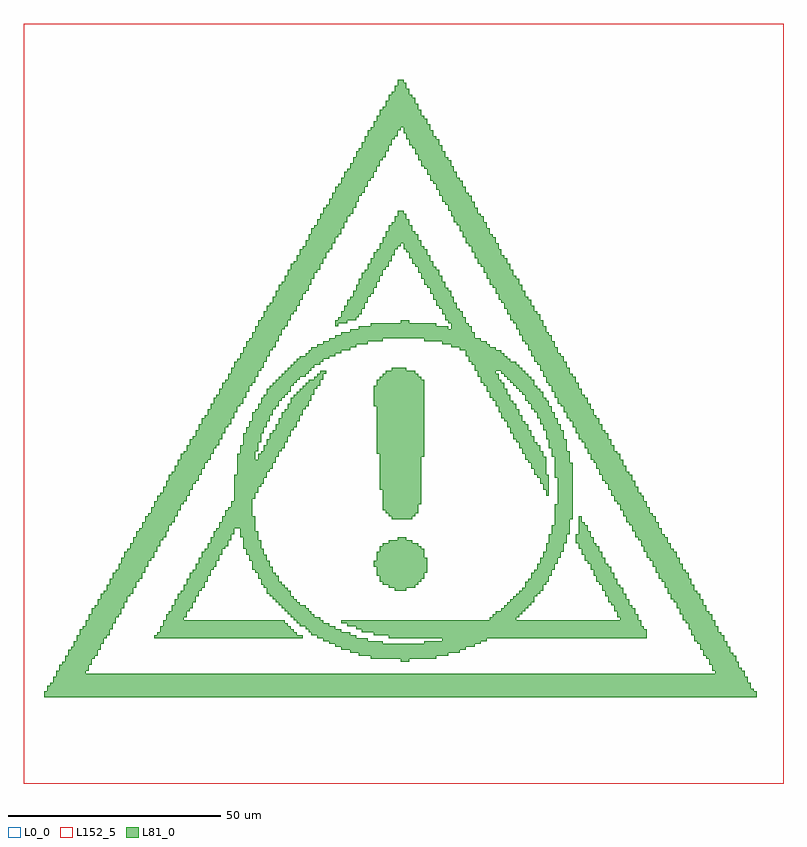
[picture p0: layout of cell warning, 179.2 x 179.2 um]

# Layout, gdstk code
import gdstk
lib = gdstk.Library(unit=1e-6, precision=1e-09)
def R(c, l, rs):  # rectangles x0, y0, x1, y1
    for r in rs: c.add(gdstk.rectangle(r[:2], r[2:], *l))
def A(c, l, x, y, w, h, nx, ny, dx, dy):  # array of equal rectangles
    R(c, l, [(x+i*dx, y+j*dy, x+i*dx+w, y+j*dy+h) for i in range(nx) for j in range(ny)])
L0_0 = (0, 0)
L81_0 = (81, 0)
L152_5 = (152, 5)

warning = lib.new_cell('warning')
R(warning, L0_0, [(0,0,179.2,179.2)])
A(warning, L81_0, 4.9, 20.3, 0.7, 0.7, 240, 2, 0.7, 0.7)
A(warning, L81_0, 5.6, 21.7, 0.7, 0.7, 238, 1, 0.7, 0)
A(warning, L81_0, 5.6, 22.4, 0.7, 0.7, 237, 1, 0.7, 0)
A(warning, L81_0, 6.3, 23.1, 0.7, 0.7, 236, 1, 0.7, 0)
A(warning, L81_0, 7, 23.8, 0.7, 0.7, 234, 2, 0.7, 0.7)
A(warning, L81_0, 7.7, 25.2, 0.7, 0.7, 232, 1, 0.7, 0)
A(warning, L81_0, 7.7, 25.9, 0.7, 0.7, 10, 1, 0.7, 0)
A(warning, L81_0, 163.1, 25.9, 0.7, 0.7, 10, 1, 0.7, 0)
A(warning, L81_0, 8.4, 26.6, 0.7, 0.7, 10, 2, 0.7, 0.7)
A(warning, L81_0, 162.4, 26.6, 0.7, 0.7, 10, 1, 0.7, 0)
A(warning, L81_0, 162.4, 27.3, 0.7, 0.7, 9, 1, 0.7, 0)
A(warning, L81_0, 9.1, 28, 0.7, 0.7, 10, 1, 0.7, 0)
A(warning, L81_0, 161.7, 28, 0.7, 0.7, 10, 1, 0.7, 0)
A(warning, L81_0, 9.8, 28.7, 0.7, 0.7, 9, 1, 0.7, 0)
A(warning, L81_0, 88.9, 28.7, 0.7, 0.7, 3, 2, 0.7, 79.8)
A(warning, L81_0, 161.7, 28.7, 0.7, 0.7, 9, 1, 0.7, 0)
A(warning, L81_0, 9.8, 29.4, 0.7, 0.7, 10, 1, 0.7, 0)
A(warning, L81_0, 81.9, 29.4, 0.7, 0.7, 22, 2, 0.7, 78.4)
A(warning, L81_0, 161, 29.4, 0.7, 0.7, 10, 1, 0.7, 0)
A(warning, L81_0, 10.5, 30.1, 0.7, 0.7, 10, 2, 0.7, 0.7)
A(warning, L81_0, 79.1, 30.1, 0.7, 0.7, 30, 2, 0.7, 77)
A(warning, L81_0, 160.3, 30.1, 0.7, 0.7, 10, 1, 0.7, 0)
A(warning, L81_0, 77, 30.8, 0.7, 0.7, 37, 1, 0.7, 0)
A(warning, L81_0, 160.3, 30.8, 0.7, 0.7, 9, 1, 0.7, 0)
A(warning, L81_0, 11.2, 31.5, 0.7, 0.7, 10, 1, 0.7, 0)
A(warning, L81_0, 74.9, 31.5, 0.7, 0.7, 42, 1, 0.7, 0)
A(warning, L81_0, 159.6, 31.5, 0.7, 0.7, 10, 1, 0.7, 0)
A(warning, L81_0, 11.9, 32.2, 0.7, 0.7, 9, 1, 0.7, 0)
A(warning, L81_0, 73.5, 32.2, 0.7, 0.7, 47, 2, 0.7, 72.8)
A(warning, L81_0, 159.6, 32.2, 0.7, 0.7, 9, 1, 0.7, 0)
A(warning, L81_0, 11.9, 32.9, 0.7, 0.7, 10, 1, 0.7, 0)
A(warning, L81_0, 72.1, 32.9, 0.7, 0.7, 18, 2, 0.7, 71.4)
A(warning, L81_0, 94.5, 32.9, 0.7, 0.7, 19, 2, 0.7, 71.4)
A(warning, L81_0, 158.9, 32.9, 0.7, 0.7, 10, 1, 0.7, 0)
A(warning, L81_0, 12.6, 33.6, 0.7, 0.7, 9, 1, 0.7, 0)
A(warning, L81_0, 70.7, 33.6, 0.7, 0.7, 15, 2, 0.7, 70)
A(warning, L81_0, 98.7, 33.6, 0.7, 0.7, 15, 2, 0.7, 70)
A(warning, L81_0, 158.2, 33.6, 0.7, 0.7, 10, 2, 0.7, 0.7)
A(warning, L81_0, 12.6, 34.3, 0.7, 0.7, 10, 1, 0.7, 0)
A(warning, L81_0, 30.8, 34.3, 0.7, 0.7, 50, 1, 0.7, 0)
A(warning, L81_0, 69.3, 34.3, 0.7, 0.7, 13, 2, 0.7, 68.6)
A(warning, L81_0, 86.1, 34.3, 0.7, 0.7, 87, 1, 0.7, 0)
A(warning, L81_0, 13.3, 35, 0.7, 0.7, 10, 2, 0.7, 0.7)
A(warning, L81_0, 31.5, 35, 0.7, 0.7, 47, 1, 0.7, 0)
A(warning, L81_0, 67.9, 35, 0.7, 0.7, 13, 2, 0.7, 67.2)
A(warning, L81_0, 82.6, 35, 0.7, 0.7, 92, 1, 0.7, 0)
A(warning, L81_0, 157.5, 35, 0.7, 0.7, 10, 1, 0.7, 0)
A(warning, L81_0, 32.2, 35.7, 0.7, 0.7, 45, 1, 0.7, 0)
A(warning, L81_0, 67.2, 35.7, 0.7, 0.7, 11, 2, 0.7, 65.8)
A(warning, L81_0, 79.8, 35.7, 0.7, 0.7, 96, 1, 0.7, 0)
A(warning, L81_0, 157.5, 35.7, 0.7, 0.7, 9, 1, 0.7, 0)
A(warning, L81_0, 14, 36.4, 0.7, 0.7, 10, 1, 0.7, 0)
A(warning, L81_0, 32.2, 36.4, 0.7, 0.7, 44, 1, 0.7, 0)
A(warning, L81_0, 66.5, 36.4, 0.7, 0.7, 10, 2, 0.7, 64.4)
A(warning, L81_0, 78.4, 36.4, 0.7, 0.7, 97, 1, 0.7, 0)
A(warning, L81_0, 156.8, 36.4, 0.7, 0.7, 10, 1, 0.7, 0)
A(warning, L81_0, 14.7, 37.1, 0.7, 0.7, 9, 1, 0.7, 0)
A(warning, L81_0, 32.9, 37.1, 0.7, 0.7, 42, 1, 0.7, 0)
A(warning, L81_0, 65.1, 37.1, 0.7, 0.7, 10, 2, 0.7, 63)
A(warning, L81_0, 76.3, 37.1, 0.7, 0.7, 99, 1, 0.7, 0)
A(warning, L81_0, 156.8, 37.1, 0.7, 0.7, 9, 1, 0.7, 0)
A(warning, L81_0, 14.7, 37.8, 0.7, 0.7, 10, 1, 0.7, 0)
A(warning, L81_0, 32.9, 37.8, 0.7, 0.7, 41, 1, 0.7, 0)
A(warning, L81_0, 64.4, 37.8, 0.7, 0.7, 9, 2, 0.7, 61.6)
A(warning, L81_0, 74.9, 37.8, 0.7, 0.7, 101, 1, 0.7, 0)
A(warning, L81_0, 156.1, 37.8, 0.7, 0.7, 10, 1, 0.7, 0)
A(warning, L81_0, 15.4, 38.5, 0.7, 0.7, 9, 1, 0.7, 0)
A(warning, L81_0, 33.6, 38.5, 0.7, 0.7, 6, 1, 0.7, 0)
A(warning, L81_0, 63.7, 38.5, 0.7, 0.7, 9, 2, 0.7, 60.2)
A(warning, L81_0, 109.9, 38.5, 0.7, 0.7, 9, 1, 0.7, 0)
A(warning, L81_0, 140.7, 38.5, 0.7, 0.7, 6, 1, 0.7, 0)
A(warning, L81_0, 155.4, 38.5, 0.7, 0.7, 10, 2, 0.7, 0.7)
A(warning, L81_0, 15.4, 39.2, 0.7, 0.7, 10, 1, 0.7, 0)
A(warning, L81_0, 33.6, 39.2, 0.7, 0.7, 7, 1, 0.7, 0)
A(warning, L81_0, 63, 39.2, 0.7, 0.7, 8, 2, 0.7, 58.8)
A(warning, L81_0, 110.6, 39.2, 0.7, 0.7, 9, 1, 0.7, 0)
A(warning, L81_0, 140, 39.2, 0.7, 0.7, 7, 1, 0.7, 0)
A(warning, L81_0, 16.1, 39.9, 0.7, 0.7, 10, 2, 0.7, 0.7)
A(warning, L81_0, 34.3, 39.9, 0.7, 0.7, 6, 1, 0.7, 0)
A(warning, L81_0, 62.3, 39.9, 0.7, 0.7, 8, 2, 0.7, 57.4)
A(warning, L81_0, 111.3, 39.9, 0.7, 0.7, 9, 2, 0.7, 76.3)
A(warning, L81_0, 140, 39.9, 0.7, 0.7, 6, 1, 0.7, 0)
A(warning, L81_0, 154.7, 39.9, 0.7, 0.7, 10, 1, 0.7, 0)
A(warning, L81_0, 35, 40.6, 0.7, 0.7, 6, 1, 0.7, 0)
A(warning, L81_0, 61.6, 40.6, 0.7, 0.7, 8, 2, 0.7, 56)
A(warning, L81_0, 112.7, 40.6, 0.7, 0.7, 8, 2, 0.7, 56)
A(warning, L81_0, 139.3, 40.6, 0.7, 0.7, 7, 1, 0.7, 0)
A(warning, L81_0, 154.7, 40.6, 0.7, 0.7, 9, 1, 0.7, 0)
A(warning, L81_0, 16.8, 41.3, 0.7, 0.7, 10, 1, 0.7, 0)
A(warning, L81_0, 35, 41.3, 0.7, 0.7, 7, 1, 0.7, 0)
A(warning, L81_0, 60.9, 41.3, 0.7, 0.7, 8, 2, 0.7, 54.6)
A(warning, L81_0, 113.4, 41.3, 0.7, 0.7, 8, 2, 0.7, 54.6)
A(warning, L81_0, 139.3, 41.3, 0.7, 0.7, 6, 1, 0.7, 0)
A(warning, L81_0, 154, 41.3, 0.7, 0.7, 10, 1, 0.7, 0)
A(warning, L81_0, 17.5, 42, 0.7, 0.7, 9, 1, 0.7, 0)
A(warning, L81_0, 35.7, 42, 0.7, 0.7, 6, 1, 0.7, 0)
A(warning, L81_0, 60.2, 42, 0.7, 0.7, 7, 2, 0.7, 43.4)
A(warning, L81_0, 114.1, 42, 0.7, 0.7, 8, 2, 0.7, 53.2)
A(warning, L81_0, 138.6, 42, 0.7, 0.7, 6, 1, 0.7, 0)
A(warning, L81_0, 154, 42, 0.7, 0.7, 9, 1, 0.7, 0)
A(warning, L81_0, 17.5, 42.7, 0.7, 0.7, 10, 1, 0.7, 0)
A(warning, L81_0, 35.7, 42.7, 0.7, 0.7, 7, 1, 0.7, 0)
A(warning, L81_0, 59.5, 42.7, 0.7, 0.7, 7, 2, 0.7, 41.3)
A(warning, L81_0, 114.8, 42.7, 0.7, 0.7, 8, 2, 0.7, 51.8)
A(warning, L81_0, 137.9, 42.7, 0.7, 0.7, 7, 1, 0.7, 0)
A(warning, L81_0, 153.3, 42.7, 0.7, 0.7, 10, 1, 0.7, 0)
A(warning, L81_0, 18.2, 43.4, 0.7, 0.7, 9, 1, 0.7, 0)
A(warning, L81_0, 36.4, 43.4, 0.7, 0.7, 6, 1, 0.7, 0)
A(warning, L81_0, 58.8, 43.4, 0.7, 0.7, 7, 2, 0.7, 50.4)
A(warning, L81_0, 115.5, 43.4, 0.7, 0.7, 7, 2, 0.7, 37.8)
A(warning, L81_0, 137.9, 43.4, 0.7, 0.7, 6, 1, 0.7, 0)
A(warning, L81_0, 152.6, 43.4, 0.7, 0.7, 10, 2, 0.7, 0.7)
A(warning, L81_0, 18.2, 44.1, 0.7, 0.7, 10, 1, 0.7, 0)
A(warning, L81_0, 36.4, 44.1, 0.7, 0.7, 7, 1, 0.7, 0)
A(warning, L81_0, 58.1, 44.1, 0.7, 0.7, 7, 2, 0.7, 37.8)
A(warning, L81_0, 116.2, 44.1, 0.7, 0.7, 7, 2, 0.7, 49)
A(warning, L81_0, 137.2, 44.1, 0.7, 0.7, 7, 1, 0.7, 0)
A(warning, L81_0, 18.9, 44.8, 0.7, 0.7, 10, 1, 0.7, 0)
A(warning, L81_0, 37.1, 44.8, 0.7, 0.7, 6, 1, 0.7, 0)
A(warning, L81_0, 57.4, 44.8, 0.7, 0.7, 8, 2, 0.7, 47.6)
A(warning, L81_0, 116.9, 44.8, 0.7, 0.7, 7, 2, 0.7, 34.3)
A(warning, L81_0, 137.2, 44.8, 0.7, 0.7, 6, 1, 0.7, 0)
A(warning, L81_0, 151.9, 44.8, 0.7, 0.7, 10, 1, 0.7, 0)
A(warning, L81_0, 19.6, 45.5, 0.7, 0.7, 9, 1, 0.7, 0)
A(warning, L81_0, 37.8, 45.5, 0.7, 0.7, 6, 1, 0.7, 0)
A(warning, L81_0, 57.4, 45.5, 0.7, 0.7, 7, 2, 0.7, 35)
A(warning, L81_0, 87.5, 45.5, 0.7, 0.7, 4, 2, 0.7, 87.5)
A(warning, L81_0, 117.6, 45.5, 0.7, 0.7, 7, 2, 0.7, 32.2)
A(warning, L81_0, 136.5, 45.5, 0.7, 0.7, 7, 1, 0.7, 0)
A(warning, L81_0, 151.9, 45.5, 0.7, 0.7, 9, 1, 0.7, 0)
A(warning, L81_0, 19.6, 46.2, 0.7, 0.7, 10, 1, 0.7, 0)
A(warning, L81_0, 37.8, 46.2, 0.7, 0.7, 7, 1, 0.7, 0)
A(warning, L81_0, 56.7, 46.2, 0.7, 0.7, 7, 2, 0.7, 32.9)
A(warning, L81_0, 86.1, 46.2, 0.7, 0.7, 9, 2, 0.7, 16.8)
A(warning, L81_0, 118.3, 46.2, 0.7, 0.7, 6, 2, 0.7, 30.8)
A(warning, L81_0, 136.5, 46.2, 0.7, 0.7, 6, 1, 0.7, 0)
A(warning, L81_0, 151.2, 46.2, 0.7, 0.7, 10, 1, 0.7, 0)
A(warning, L81_0, 20.3, 46.9, 0.7, 0.7, 9, 1, 0.7, 0)
A(warning, L81_0, 38.5, 46.9, 0.7, 0.7, 6, 1, 0.7, 0)
A(warning, L81_0, 56, 46.9, 0.7, 0.7, 7, 2, 0.7, 43.4)
A(warning, L81_0, 84.7, 46.9, 0.7, 0.7, 12, 2, 0.7, 9.1)
A(warning, L81_0, 118.3, 46.9, 0.7, 0.7, 7, 2, 0.7, 29.4)
A(warning, L81_0, 135.8, 46.9, 0.7, 0.7, 6, 1, 0.7, 0)
A(warning, L81_0, 151.2, 46.9, 0.7, 0.7, 9, 1, 0.7, 0)
A(warning, L81_0, 20.3, 47.6, 0.7, 0.7, 10, 1, 0.7, 0)
A(warning, L81_0, 38.5, 47.6, 0.7, 0.7, 7, 1, 0.7, 0)
A(warning, L81_0, 56, 47.6, 0.7, 0.7, 6, 2, 0.7, 30.1)
A(warning, L81_0, 84, 47.6, 0.7, 0.7, 14, 2, 0.7, 7.7)
A(warning, L81_0, 119, 47.6, 0.7, 0.7, 7, 2, 0.7, 42)
A(warning, L81_0, 135.1, 47.6, 0.7, 0.7, 7, 1, 0.7, 0)
A(warning, L81_0, 150.5, 47.6, 0.7, 0.7, 10, 1, 0.7, 0)
A(warning, L81_0, 21, 48.3, 0.7, 0.7, 10, 2, 0.7, 0.7)
A(warning, L81_0, 39.2, 48.3, 0.7, 0.7, 6, 1, 0.7, 0)
A(warning, L81_0, 55.3, 48.3, 0.7, 0.7, 7, 2, 0.7, 28.7)
A(warning, L81_0, 84, 48.3, 0.7, 0.7, 15, 2, 0.7, 6.3)
A(warning, L81_0, 119.7, 48.3, 0.7, 0.7, 6, 2, 0.7, 40.6)
A(warning, L81_0, 135.1, 48.3, 0.7, 0.7, 6, 1, 0.7, 0)
A(warning, L81_0, 149.8, 48.3, 0.7, 0.7, 10, 2, 0.7, 0.7)
A(warning, L81_0, 39.2, 49, 0.7, 0.7, 7, 1, 0.7, 0)
A(warning, L81_0, 55.3, 49, 0.7, 0.7, 6, 2, 0.7, 27.3)
A(warning, L81_0, 83.3, 49, 0.7, 0.7, 16, 2, 0.7, 4.2)
A(warning, L81_0, 119.7, 49, 0.7, 0.7, 7, 2, 0.7, 39.2)
A(warning, L81_0, 134.4, 49, 0.7, 0.7, 7, 1, 0.7, 0)
A(warning, L81_0, 21.7, 49.7, 0.7, 0.7, 10, 1, 0.7, 0)
A(warning, L81_0, 39.9, 49.7, 0.7, 0.7, 6, 1, 0.7, 0)
A(warning, L81_0, 54.6, 49.7, 0.7, 0.7, 6, 2, 0.7, 37.8)
A(warning, L81_0, 83.3, 49.7, 0.7, 0.7, 17, 2, 0.7, 0.7)
A(warning, L81_0, 120.4, 49.7, 0.7, 0.7, 6, 2, 0.7, 37.8)
A(warning, L81_0, 134.4, 49.7, 0.7, 0.7, 6, 1, 0.7, 0)
A(warning, L81_0, 149.1, 49.7, 0.7, 0.7, 10, 1, 0.7, 0)
A(warning, L81_0, 22.4, 50.4, 0.7, 0.7, 9, 1, 0.7, 0)
A(warning, L81_0, 40.6, 50.4, 0.7, 0.7, 6, 1, 0.7, 0)
A(warning, L81_0, 53.9, 50.4, 0.7, 0.7, 7, 2, 0.7, 36.4)
A(warning, L81_0, 121.1, 50.4, 0.7, 0.7, 6, 2, 0.7, 0.7)
A(warning, L81_0, 133.7, 50.4, 0.7, 0.7, 7, 1, 0.7, 0)
A(warning, L81_0, 149.1, 50.4, 0.7, 0.7, 9, 1, 0.7, 0)
A(warning, L81_0, 22.4, 51.1, 0.7, 0.7, 10, 1, 0.7, 0)
A(warning, L81_0, 40.6, 51.1, 0.7, 0.7, 7, 1, 0.7, 0)
A(warning, L81_0, 53.9, 51.1, 0.7, 0.7, 6, 2, 0.7, 0.7)
A(warning, L81_0, 82.6, 51.1, 0.7, 0.7, 18, 2, 0.7, 0.7)
A(warning, L81_0, 133.7, 51.1, 0.7, 0.7, 6, 1, 0.7, 0)
A(warning, L81_0, 148.4, 51.1, 0.7, 0.7, 10, 1, 0.7, 0)
A(warning, L81_0, 23.1, 51.8, 0.7, 0.7, 9, 1, 0.7, 0)
A(warning, L81_0, 41.3, 51.8, 0.7, 0.7, 6, 1, 0.7, 0)
A(warning, L81_0, 121.8, 51.8, 0.7, 0.7, 6, 2, 0.7, 0.7)
A(warning, L81_0, 133, 51.8, 0.7, 0.7, 6, 1, 0.7, 0)
A(warning, L81_0, 148.4, 51.8, 0.7, 0.7, 9, 1, 0.7, 0)
A(warning, L81_0, 23.1, 52.5, 0.7, 0.7, 10, 1, 0.7, 0)
A(warning, L81_0, 41.3, 52.5, 0.7, 0.7, 7, 1, 0.7, 0)
A(warning, L81_0, 53.2, 52.5, 0.7, 0.7, 6, 2, 0.7, 0.7)
A(warning, L81_0, 83.3, 52.5, 0.7, 0.7, 17, 2, 0.7, 103.6)
A(warning, L81_0, 132.3, 52.5, 0.7, 0.7, 7, 1, 0.7, 0)
A(warning, L81_0, 147.7, 52.5, 0.7, 0.7, 10, 1, 0.7, 0)
A(warning, L81_0, 23.8, 53.2, 0.7, 0.7, 10, 2, 0.7, 0.7)
A(warning, L81_0, 42, 53.2, 0.7, 0.7, 6, 1, 0.7, 0)
A(warning, L81_0, 122.5, 53.2, 0.7, 0.7, 6, 2, 0.7, 0.7)
A(warning, L81_0, 132.3, 53.2, 0.7, 0.7, 6, 1, 0.7, 0)
A(warning, L81_0, 147, 53.2, 0.7, 0.7, 10, 2, 0.7, 0.7)
A(warning, L81_0, 42, 53.9, 0.7, 0.7, 7, 1, 0.7, 0)
A(warning, L81_0, 52.5, 53.9, 0.7, 0.7, 6, 2, 0.7, 0.7)
A(warning, L81_0, 83.3, 53.9, 0.7, 0.7, 16, 2, 0.7, 23.8)
A(warning, L81_0, 131.6, 53.9, 0.7, 0.7, 7, 1, 0.7, 0)
A(warning, L81_0, 24.5, 54.6, 0.7, 0.7, 10, 1, 0.7, 0)
A(warning, L81_0, 42.7, 54.6, 0.7, 0.7, 6, 1, 0.7, 0)
A(warning, L81_0, 123.2, 54.6, 0.7, 0.7, 6, 3, 0.7, 0.7)
A(warning, L81_0, 131.6, 54.6, 0.7, 0.7, 6, 1, 0.7, 0)
A(warning, L81_0, 146.3, 54.6, 0.7, 0.7, 10, 1, 0.7, 0)
A(warning, L81_0, 25.2, 55.3, 0.7, 0.7, 9, 1, 0.7, 0)
A(warning, L81_0, 43.4, 55.3, 0.7, 0.7, 6, 1, 0.7, 0)
A(warning, L81_0, 51.8, 55.3, 0.7, 0.7, 6, 3, 0.7, 0.7)
A(warning, L81_0, 130.9, 55.3, 0.7, 0.7, 7, 1, 0.7, 0)
A(warning, L81_0, 146.3, 55.3, 0.7, 0.7, 9, 1, 0.7, 0)
A(warning, L81_0, 25.2, 56, 0.7, 0.7, 10, 1, 0.7, 0)
A(warning, L81_0, 43.4, 56, 0.7, 0.7, 7, 1, 0.7, 0)
A(warning, L81_0, 130.9, 56, 0.7, 0.7, 6, 1, 0.7, 0)
A(warning, L81_0, 145.6, 56, 0.7, 0.7, 10, 1, 0.7, 0)
A(warning, L81_0, 25.9, 56.7, 0.7, 0.7, 9, 1, 0.7, 0)
A(warning, L81_0, 44.1, 56.7, 0.7, 0.7, 6, 1, 0.7, 0)
A(warning, L81_0, 86.1, 56.7, 0.7, 0.7, 8, 2, 0.7, 73.5)
A(warning, L81_0, 123.9, 56.7, 0.7, 0.7, 6, 3, 0.7, 0.7)
A(warning, L81_0, 130.2, 56.7, 0.7, 0.7, 6, 2, 0.7, 0.7)
A(warning, L81_0, 145.6, 56.7, 0.7, 0.7, 9, 1, 0.7, 0)
A(warning, L81_0, 25.9, 57.4, 0.7, 0.7, 10, 1, 0.7, 0)
A(warning, L81_0, 44.1, 57.4, 0.7, 0.7, 7, 1, 0.7, 0)
A(warning, L81_0, 51.8, 57.4, 0.7, 0.7, 5, 2, 0.7, 22.4)
A(warning, L81_0, 88.2, 57.4, 0.7, 0.7, 3, 2, 0.7, 76.3)
A(warning, L81_0, 144.9, 57.4, 0.7, 0.7, 10, 1, 0.7, 0)
A(warning, L81_0, 26.6, 58.1, 0.7, 0.7, 10, 2, 0.7, 0.7)
A(warning, L81_0, 44.8, 58.1, 0.7, 0.7, 6, 1, 0.7, 0)
A(warning, L81_0, 51.1, 58.1, 0.7, 0.7, 6, 2, 0.7, 0.7)
A(warning, L81_0, 130.2, 58.1, 0.7, 0.7, 5, 1, 0.7, 0)
A(warning, L81_0, 144.2, 58.1, 0.7, 0.7, 10, 1, 0.7, 0)
A(warning, L81_0, 44.8, 58.8, 0.7, 0.7, 7, 1, 0.7, 0)
A(warning, L81_0, 124.6, 58.8, 0.7, 0.7, 6, 3, 0.7, 0.7)
A(warning, L81_0, 130.9, 58.8, 0.7, 0.7, 4, 1, 0.7, 0)
A(warning, L81_0, 144.2, 58.8, 0.7, 0.7, 9, 1, 0.7, 0)
A(warning, L81_0, 27.3, 59.5, 0.7, 0.7, 10, 1, 0.7, 0)
A(warning, L81_0, 45.5, 59.5, 0.7, 0.7, 6, 1, 0.7, 0)
A(warning, L81_0, 51.1, 59.5, 0.7, 0.7, 5, 2, 0.7, 18.2)
A(warning, L81_0, 130.9, 59.5, 0.7, 0.7, 3, 2, 0.7, 0.7)
A(warning, L81_0, 143.5, 59.5, 0.7, 0.7, 10, 1, 0.7, 0)
A(warning, L81_0, 28, 60.2, 0.7, 0.7, 9, 1, 0.7, 0)
A(warning, L81_0, 46.2, 60.2, 0.7, 0.7, 12, 2, 0.7, 0.7)
A(warning, L81_0, 143.5, 60.2, 0.7, 0.7, 9, 1, 0.7, 0)
A(warning, L81_0, 28, 60.9, 0.7, 0.7, 10, 1, 0.7, 0)
A(warning, L81_0, 125.3, 60.9, 0.7, 0.7, 5, 2, 0.7, 0.7)
A(warning, L81_0, 130.9, 60.9, 0.7, 0.7, 1, 3, 0, 0.7)
A(warning, L81_0, 142.8, 60.9, 0.7, 0.7, 10, 1, 0.7, 0)
A(warning, L81_0, 28.7, 61.6, 0.7, 0.7, 10, 2, 0.7, 0.7)
A(warning, L81_0, 46.9, 61.6, 0.7, 0.7, 11, 2, 0.7, 0.7)
A(warning, L81_0, 142.1, 61.6, 0.7, 0.7, 10, 2, 0.7, 0.7)
A(warning, L81_0, 86.8, 62.3, 0.7, 0.7, 7, 1, 0.7, 0)
A(warning, L81_0, 125.3, 62.3, 0.7, 0.7, 6, 5, 0.7, 0.7)
A(warning, L81_0, 29.4, 63, 0.7, 0.7, 10, 1, 0.7, 0)
A(warning, L81_0, 47.6, 63, 0.7, 0.7, 9, 2, 0.7, 0.7)
A(warning, L81_0, 141.4, 63, 0.7, 0.7, 10, 1, 0.7, 0)
A(warning, L81_0, 30.1, 63.7, 0.7, 0.7, 9, 1, 0.7, 0)
A(warning, L81_0, 85.4, 63.7, 0.7, 0.7, 11, 2, 0.7, 65.1)
A(warning, L81_0, 141.4, 63.7, 0.7, 0.7, 9, 1, 0.7, 0)
A(warning, L81_0, 30.1, 64.4, 0.7, 0.7, 10, 1, 0.7, 0)
A(warning, L81_0, 48.3, 64.4, 0.7, 0.7, 8, 1, 0.7, 0)
A(warning, L81_0, 84.7, 64.4, 0.7, 0.7, 12, 2, 0.7, 0.7)
A(warning, L81_0, 140.7, 64.4, 0.7, 0.7, 10, 1, 0.7, 0)
A(warning, L81_0, 30.8, 65.1, 0.7, 0.7, 9, 1, 0.7, 0)
A(warning, L81_0, 49, 65.1, 0.7, 0.7, 7, 2, 0.7, 0.7)
A(warning, L81_0, 140.7, 65.1, 0.7, 0.7, 9, 1, 0.7, 0)
A(warning, L81_0, 30.8, 65.8, 0.7, 0.7, 10, 1, 0.7, 0)
A(warning, L81_0, 84.7, 65.8, 0.7, 0.7, 13, 5, 0.7, 0.7)
A(warning, L81_0, 126, 65.8, 0.7, 0.7, 5, 9, 0.7, 0.7)
A(warning, L81_0, 140, 65.8, 0.7, 0.7, 10, 1, 0.7, 0)
A(warning, L81_0, 31.5, 66.5, 0.7, 0.7, 10, 2, 0.7, 0.7)
A(warning, L81_0, 49.7, 66.5, 0.7, 0.7, 6, 1, 0.7, 0)
A(warning, L81_0, 139.3, 66.5, 0.7, 0.7, 10, 2, 0.7, 0.7)
A(warning, L81_0, 49.7, 67.2, 0.7, 0.7, 7, 2, 0.7, 0.7)
A(warning, L81_0, 32.2, 67.9, 0.7, 0.7, 10, 1, 0.7, 0)
A(warning, L81_0, 123.2, 67.9, 0.7, 0.7, 1, 4, 0, 0.7)
A(warning, L81_0, 138.6, 67.9, 0.7, 0.7, 10, 1, 0.7, 0)
A(warning, L81_0, 32.9, 68.6, 0.7, 0.7, 9, 1, 0.7, 0)
A(warning, L81_0, 49.7, 68.6, 0.7, 0.7, 8, 2, 0.7, 0.7)
A(warning, L81_0, 138.6, 68.6, 0.7, 0.7, 9, 1, 0.7, 0)
A(warning, L81_0, 32.9, 69.3, 0.7, 0.7, 10, 1, 0.7, 0)
A(warning, L81_0, 84, 69.3, 0.7, 0.7, 14, 11, 0.7, 0.7)
A(warning, L81_0, 137.9, 69.3, 0.7, 0.7, 10, 1, 0.7, 0)
A(warning, L81_0, 33.6, 70, 0.7, 0.7, 9, 1, 0.7, 0)
A(warning, L81_0, 49.7, 70, 0.7, 0.7, 9, 1, 0.7, 0)
A(warning, L81_0, 137.9, 70, 0.7, 0.7, 9, 1, 0.7, 0)
A(warning, L81_0, 33.6, 70.7, 0.7, 0.7, 10, 1, 0.7, 0)
A(warning, L81_0, 49.7, 70.7, 0.7, 0.7, 10, 2, 0.7, 0.7)
A(warning, L81_0, 121.8, 70.7, 0.7, 0.7, 3, 2, 0.7, 0.7)
A(warning, L81_0, 137.2, 70.7, 0.7, 0.7, 10, 1, 0.7, 0)
A(warning, L81_0, 34.3, 71.4, 0.7, 0.7, 10, 2, 0.7, 0.7)
A(warning, L81_0, 136.5, 71.4, 0.7, 0.7, 10, 2, 0.7, 0.7)
A(warning, L81_0, 49.7, 72.1, 0.7, 0.7, 11, 1, 0.7, 0)
A(warning, L81_0, 121.1, 72.1, 0.7, 0.7, 4, 1, 0.7, 0)
A(warning, L81_0, 125.3, 72.1, 0.7, 0.7, 6, 5, 0.7, 0.7)
A(warning, L81_0, 35, 72.8, 0.7, 0.7, 10, 1, 0.7, 0)
A(warning, L81_0, 50.4, 72.8, 0.7, 0.7, 10, 2, 0.7, 26.6)
A(warning, L81_0, 120.4, 72.8, 0.7, 0.7, 4, 2, 0.7, 0.7)
A(warning, L81_0, 135.8, 72.8, 0.7, 0.7, 10, 1, 0.7, 0)
A(warning, L81_0, 35.7, 73.5, 0.7, 0.7, 9, 1, 0.7, 0)
A(warning, L81_0, 50.4, 73.5, 0.7, 0.7, 11, 1, 0.7, 0)
A(warning, L81_0, 135.8, 73.5, 0.7, 0.7, 9, 1, 0.7, 0)
A(warning, L81_0, 35.7, 74.2, 0.7, 0.7, 10, 1, 0.7, 0)
A(warning, L81_0, 50.4, 74.2, 0.7, 0.7, 12, 2, 0.7, 0.7)
A(warning, L81_0, 119.7, 74.2, 0.7, 0.7, 5, 2, 0.7, 0.7)
A(warning, L81_0, 135.1, 74.2, 0.7, 0.7, 10, 1, 0.7, 0)
A(warning, L81_0, 36.4, 74.9, 0.7, 0.7, 9, 1, 0.7, 0)
A(warning, L81_0, 135.1, 74.9, 0.7, 0.7, 9, 1, 0.7, 0)
A(warning, L81_0, 36.4, 75.6, 0.7, 0.7, 10, 1, 0.7, 0)
A(warning, L81_0, 50.4, 75.6, 0.7, 0.7, 13, 1, 0.7, 0)
A(warning, L81_0, 119, 75.6, 0.7, 0.7, 6, 1, 0.7, 0)
A(warning, L81_0, 125.3, 75.6, 0.7, 0.7, 5, 2, 0.7, 0.7)
A(warning, L81_0, 134.4, 75.6, 0.7, 0.7, 10, 1, 0.7, 0)
A(warning, L81_0, 37.1, 76.3, 0.7, 0.7, 10, 2, 0.7, 0.7)
A(warning, L81_0, 50.4, 76.3, 0.7, 0.7, 6, 2, 0.7, 0.7)
A(warning, L81_0, 133.7, 76.3, 0.7, 0.7, 10, 2, 0.7, 0.7)
A(warning, L81_0, 84, 77, 0.7, 0.7, 15, 1, 0.7, 0)
A(warning, L81_0, 124.6, 77, 0.7, 0.7, 6, 2, 0.7, 0.7)
A(warning, L81_0, 37.8, 77.7, 0.7, 0.7, 10, 1, 0.7, 0)
A(warning, L81_0, 133, 77.7, 0.7, 0.7, 10, 1, 0.7, 0)
A(warning, L81_0, 38.5, 78.4, 0.7, 0.7, 9, 1, 0.7, 0)
A(warning, L81_0, 51.1, 78.4, 0.7, 0.7, 6, 2, 0.7, 0.7)
A(warning, L81_0, 56.7, 78.4, 0.7, 0.7, 6, 1, 0.7, 0)
A(warning, L81_0, 83.3, 78.4, 0.7, 0.7, 16, 15, 0.7, 0.7)
A(warning, L81_0, 117.6, 78.4, 0.7, 0.7, 6, 1, 0.7, 0)
A(warning, L81_0, 124.6, 78.4, 0.7, 0.7, 5, 1, 0.7, 0)
A(warning, L81_0, 133, 78.4, 0.7, 0.7, 9, 1, 0.7, 0)
A(warning, L81_0, 38.5, 79.1, 0.7, 0.7, 10, 1, 0.7, 0)
A(warning, L81_0, 123.9, 79.1, 0.7, 0.7, 6, 3, 0.7, 0.7)
A(warning, L81_0, 132.3, 79.1, 0.7, 0.7, 10, 1, 0.7, 0)
A(warning, L81_0, 39.2, 79.8, 0.7, 0.7, 10, 2, 0.7, 0.7)
A(warning, L81_0, 57.4, 79.8, 0.7, 0.7, 6, 1, 0.7, 0)
A(warning, L81_0, 116.9, 79.8, 0.7, 0.7, 6, 1, 0.7, 0)
A(warning, L81_0, 132.3, 79.8, 0.7, 0.7, 9, 1, 0.7, 0)
A(warning, L81_0, 51.8, 80.5, 0.7, 0.7, 6, 3, 0.7, 0.7)
A(warning, L81_0, 116.2, 80.5, 0.7, 0.7, 6, 1, 0.7, 0)
A(warning, L81_0, 131.6, 80.5, 0.7, 0.7, 10, 1, 0.7, 0)
A(warning, L81_0, 39.9, 81.2, 0.7, 0.7, 10, 1, 0.7, 0)
A(warning, L81_0, 58.1, 81.2, 0.7, 0.7, 6, 1, 0.7, 0)
A(warning, L81_0, 123.2, 81.2, 0.7, 0.7, 6, 3, 0.7, 0.7)
A(warning, L81_0, 130.9, 81.2, 0.7, 0.7, 10, 2, 0.7, 0.7)
A(warning, L81_0, 40.6, 81.9, 0.7, 0.7, 9, 1, 0.7, 0)
A(warning, L81_0, 115.5, 81.9, 0.7, 0.7, 6, 1, 0.7, 0)
A(warning, L81_0, 40.6, 82.6, 0.7, 0.7, 10, 1, 0.7, 0)
A(warning, L81_0, 52.5, 82.6, 0.7, 0.7, 6, 2, 0.7, 0.7)
A(warning, L81_0, 58.8, 82.6, 0.7, 0.7, 6, 1, 0.7, 0)
A(warning, L81_0, 114.8, 82.6, 0.7, 0.7, 7, 1, 0.7, 0)
A(warning, L81_0, 130.2, 82.6, 0.7, 0.7, 10, 1, 0.7, 0)
A(warning, L81_0, 41.3, 83.3, 0.7, 0.7, 9, 1, 0.7, 0)
A(warning, L81_0, 59.5, 83.3, 0.7, 0.7, 6, 1, 0.7, 0)
A(warning, L81_0, 114.8, 83.3, 0.7, 0.7, 6, 1, 0.7, 0)
A(warning, L81_0, 122.5, 83.3, 0.7, 0.7, 6, 2, 0.7, 0.7)
A(warning, L81_0, 130.2, 83.3, 0.7, 0.7, 9, 1, 0.7, 0)
A(warning, L81_0, 41.3, 84, 0.7, 0.7, 10, 1, 0.7, 0)
A(warning, L81_0, 53.2, 84, 0.7, 0.7, 6, 2, 0.7, 0.7)
A(warning, L81_0, 114.1, 84, 0.7, 0.7, 7, 1, 0.7, 0)
A(warning, L81_0, 129.5, 84, 0.7, 0.7, 10, 1, 0.7, 0)
A(warning, L81_0, 42, 84.7, 0.7, 0.7, 10, 2, 0.7, 0.7)
A(warning, L81_0, 60.2, 84.7, 0.7, 0.7, 6, 1, 0.7, 0)
A(warning, L81_0, 114.1, 84.7, 0.7, 0.7, 6, 1, 0.7, 0)
A(warning, L81_0, 121.8, 84.7, 0.7, 0.7, 6, 2, 0.7, 0.7)
A(warning, L81_0, 129.5, 84.7, 0.7, 0.7, 9, 1, 0.7, 0)
A(warning, L81_0, 53.9, 85.4, 0.7, 0.7, 6, 2, 0.7, 0.7)
A(warning, L81_0, 113.4, 85.4, 0.7, 0.7, 6, 1, 0.7, 0)
A(warning, L81_0, 128.8, 85.4, 0.7, 0.7, 10, 1, 0.7, 0)
A(warning, L81_0, 42.7, 86.1, 0.7, 0.7, 10, 1, 0.7, 0)
A(warning, L81_0, 60.9, 86.1, 0.7, 0.7, 6, 1, 0.7, 0)
A(warning, L81_0, 112.7, 86.1, 0.7, 0.7, 7, 1, 0.7, 0)
A(warning, L81_0, 121.1, 86.1, 0.7, 0.7, 6, 2, 0.7, 0.7)
A(warning, L81_0, 128.1, 86.1, 0.7, 0.7, 10, 1, 0.7, 0)
A(warning, L81_0, 43.4, 86.8, 0.7, 0.7, 9, 1, 0.7, 0)
A(warning, L81_0, 60.9, 86.8, 0.7, 0.7, 7, 1, 0.7, 0)
A(warning, L81_0, 112.7, 86.8, 0.7, 0.7, 6, 1, 0.7, 0)
A(warning, L81_0, 128.1, 86.8, 0.7, 0.7, 9, 1, 0.7, 0)
A(warning, L81_0, 43.4, 87.5, 0.7, 0.7, 10, 1, 0.7, 0)
A(warning, L81_0, 61.6, 87.5, 0.7, 0.7, 6, 1, 0.7, 0)
A(warning, L81_0, 112, 87.5, 0.7, 0.7, 7, 1, 0.7, 0)
A(warning, L81_0, 127.4, 87.5, 0.7, 0.7, 10, 1, 0.7, 0)
A(warning, L81_0, 44.1, 88.2, 0.7, 0.7, 9, 1, 0.7, 0)
A(warning, L81_0, 55.3, 88.2, 0.7, 0.7, 6, 1, 0.7, 0)
A(warning, L81_0, 62.3, 88.2, 0.7, 0.7, 6, 1, 0.7, 0)
A(warning, L81_0, 112, 88.2, 0.7, 0.7, 6, 1, 0.7, 0)
A(warning, L81_0, 127.4, 88.2, 0.7, 0.7, 9, 1, 0.7, 0)
A(warning, L81_0, 44.1, 88.9, 0.7, 0.7, 10, 1, 0.7, 0)
A(warning, L81_0, 55.3, 88.9, 0.7, 0.7, 7, 1, 0.7, 0)
A(warning, L81_0, 62.3, 88.9, 0.7, 0.7, 7, 1, 0.7, 0)
A(warning, L81_0, 82.6, 88.9, 0.7, 0.7, 17, 7, 0.7, 0.7)
A(warning, L81_0, 111.3, 88.9, 0.7, 0.7, 7, 1, 0.7, 0)
A(warning, L81_0, 126.7, 88.9, 0.7, 0.7, 10, 1, 0.7, 0)
A(warning, L81_0, 44.8, 89.6, 0.7, 0.7, 10, 2, 0.7, 0.7)
A(warning, L81_0, 56, 89.6, 0.7, 0.7, 6, 1, 0.7, 0)
A(warning, L81_0, 63, 89.6, 0.7, 0.7, 6, 1, 0.7, 0)
A(warning, L81_0, 111.3, 89.6, 0.7, 0.7, 6, 1, 0.7, 0)
A(warning, L81_0, 126, 89.6, 0.7, 0.7, 10, 2, 0.7, 0.7)
A(warning, L81_0, 63, 90.3, 0.7, 0.7, 7, 1, 0.7, 0)
A(warning, L81_0, 110.6, 90.3, 0.7, 0.7, 6, 1, 0.7, 0)
A(warning, L81_0, 118.3, 90.3, 0.7, 0.7, 7, 1, 0.7, 0)
A(warning, L81_0, 45.5, 91, 0.7, 0.7, 10, 1, 0.7, 0)
A(warning, L81_0, 56.7, 91, 0.7, 0.7, 7, 1, 0.7, 0)
A(warning, L81_0, 63.7, 91, 0.7, 0.7, 6, 1, 0.7, 0)
A(warning, L81_0, 109.9, 91, 0.7, 0.7, 7, 1, 0.7, 0)
A(warning, L81_0, 118.3, 91, 0.7, 0.7, 6, 1, 0.7, 0)
A(warning, L81_0, 125.3, 91, 0.7, 0.7, 10, 1, 0.7, 0)
A(warning, L81_0, 46.2, 91.7, 0.7, 0.7, 9, 1, 0.7, 0)
A(warning, L81_0, 57.4, 91.7, 0.7, 0.7, 7, 1, 0.7, 0)
A(warning, L81_0, 64.4, 91.7, 0.7, 0.7, 6, 1, 0.7, 0)
A(warning, L81_0, 109.9, 91.7, 0.7, 0.7, 6, 1, 0.7, 0)
A(warning, L81_0, 117.6, 91.7, 0.7, 0.7, 7, 1, 0.7, 0)
A(warning, L81_0, 125.3, 91.7, 0.7, 0.7, 9, 1, 0.7, 0)
A(warning, L81_0, 46.2, 92.4, 0.7, 0.7, 10, 1, 0.7, 0)
A(warning, L81_0, 65.1, 92.4, 0.7, 0.7, 5, 1, 0.7, 0)
A(warning, L81_0, 109.2, 92.4, 0.7, 0.7, 7, 1, 0.7, 0)
A(warning, L81_0, 116.9, 92.4, 0.7, 0.7, 7, 1, 0.7, 0)
A(warning, L81_0, 124.6, 92.4, 0.7, 0.7, 10, 1, 0.7, 0)
A(warning, L81_0, 46.9, 93.1, 0.7, 0.7, 9, 1, 0.7, 0)
A(warning, L81_0, 58.1, 93.1, 0.7, 0.7, 7, 1, 0.7, 0)
A(warning, L81_0, 65.8, 93.1, 0.7, 0.7, 5, 1, 0.7, 0)
A(warning, L81_0, 109.2, 93.1, 0.7, 0.7, 6, 1, 0.7, 0)
A(warning, L81_0, 124.6, 93.1, 0.7, 0.7, 9, 1, 0.7, 0)
A(warning, L81_0, 46.9, 93.8, 0.7, 0.7, 10, 1, 0.7, 0)
A(warning, L81_0, 66.5, 93.8, 0.7, 0.7, 5, 1, 0.7, 0)
A(warning, L81_0, 83.3, 93.8, 0.7, 0.7, 16, 2, 0.7, 0.7)
A(warning, L81_0, 108.5, 93.8, 0.7, 0.7, 7, 1, 0.7, 0)
A(warning, L81_0, 115.5, 93.8, 0.7, 0.7, 7, 1, 0.7, 0)
A(warning, L81_0, 123.9, 93.8, 0.7, 0.7, 10, 1, 0.7, 0)
A(warning, L81_0, 47.6, 94.5, 0.7, 0.7, 10, 1, 0.7, 0)
A(warning, L81_0, 59.5, 94.5, 0.7, 0.7, 7, 1, 0.7, 0)
A(warning, L81_0, 67.2, 94.5, 0.7, 0.7, 4, 1, 0.7, 0)
A(warning, L81_0, 107.8, 94.5, 0.7, 0.7, 7, 1, 0.7, 0)
A(warning, L81_0, 123.2, 94.5, 0.7, 0.7, 10, 2, 0.7, 0.7)
A(warning, L81_0, 48.3, 95.2, 0.7, 0.7, 9, 1, 0.7, 0)
A(warning, L81_0, 60.2, 95.2, 0.7, 0.7, 7, 1, 0.7, 0)
A(warning, L81_0, 68.6, 95.2, 0.7, 0.7, 3, 1, 0.7, 0)
A(warning, L81_0, 84, 95.2, 0.7, 0.7, 14, 2, 0.7, 62.3)
A(warning, L81_0, 107.8, 95.2, 0.7, 0.7, 6, 1, 0.7, 0)
A(warning, L81_0, 48.3, 95.9, 0.7, 0.7, 10, 1, 0.7, 0)
A(warning, L81_0, 84.7, 95.9, 0.7, 0.7, 12, 2, 0.7, 32.2)
A(warning, L81_0, 107.1, 95.9, 0.7, 0.7, 7, 1, 0.7, 0)
A(warning, L81_0, 122.5, 95.9, 0.7, 0.7, 10, 1, 0.7, 0)
A(warning, L81_0, 49, 96.6, 0.7, 0.7, 9, 1, 0.7, 0)
A(warning, L81_0, 85.4, 96.6, 0.7, 0.7, 10, 2, 0.7, 32.9)
A(warning, L81_0, 107.1, 96.6, 0.7, 0.7, 6, 1, 0.7, 0)
A(warning, L81_0, 122.5, 96.6, 0.7, 0.7, 9, 1, 0.7, 0)
A(warning, L81_0, 49, 97.3, 0.7, 0.7, 10, 1, 0.7, 0)
A(warning, L81_0, 86.8, 97.3, 0.7, 0.7, 5, 1, 0.7, 0)
A(warning, L81_0, 106.4, 97.3, 0.7, 0.7, 16, 1, 0.7, 0)
A(warning, L81_0, 121.8, 97.3, 0.7, 0.7, 10, 1, 0.7, 0)
A(warning, L81_0, 49.7, 98, 0.7, 0.7, 10, 2, 0.7, 0.7)
A(warning, L81_0, 106.4, 98, 0.7, 0.7, 15, 1, 0.7, 0)
A(warning, L81_0, 121.8, 98, 0.7, 0.7, 9, 1, 0.7, 0)
A(warning, L81_0, 105.7, 98.7, 0.7, 0.7, 15, 1, 0.7, 0)
A(warning, L81_0, 121.1, 98.7, 0.7, 0.7, 10, 1, 0.7, 0)
A(warning, L81_0, 105, 99.4, 0.7, 0.7, 14, 1, 0.7, 0)
A(warning, L81_0, 120.4, 99.4, 0.7, 0.7, 10, 2, 0.7, 0.7)
A(warning, L81_0, 51.1, 100.1, 0.7, 0.7, 9, 1, 0.7, 0)
A(warning, L81_0, 105, 100.1, 0.7, 0.7, 13, 1, 0.7, 0)
A(warning, L81_0, 51.1, 100.8, 0.7, 0.7, 10, 1, 0.7, 0)
A(warning, L81_0, 104.3, 100.8, 0.7, 0.7, 13, 1, 0.7, 0)
A(warning, L81_0, 119.7, 100.8, 0.7, 0.7, 10, 1, 0.7, 0)
A(warning, L81_0, 51.8, 101.5, 0.7, 0.7, 9, 1, 0.7, 0)
A(warning, L81_0, 104.3, 101.5, 0.7, 0.7, 12, 1, 0.7, 0)
A(warning, L81_0, 119.7, 101.5, 0.7, 0.7, 9, 1, 0.7, 0)
A(warning, L81_0, 51.8, 102.2, 0.7, 0.7, 10, 1, 0.7, 0)
A(warning, L81_0, 102.9, 102.2, 0.7, 0.7, 12, 1, 0.7, 0)
A(warning, L81_0, 119, 102.2, 0.7, 0.7, 10, 1, 0.7, 0)
A(warning, L81_0, 52.5, 102.9, 0.7, 0.7, 10, 2, 0.7, 0.7)
A(warning, L81_0, 100.8, 102.9, 0.7, 0.7, 13, 1, 0.7, 0)
A(warning, L81_0, 119, 102.9, 0.7, 0.7, 9, 1, 0.7, 0)
A(warning, L81_0, 118.3, 103.6, 0.7, 0.7, 10, 1, 0.7, 0)
A(warning, L81_0, 53.2, 104.3, 0.7, 0.7, 10, 1, 0.7, 0)
A(warning, L81_0, 117.6, 104.3, 0.7, 0.7, 10, 2, 0.7, 0.7)
A(warning, L81_0, 53.9, 105, 0.7, 0.7, 9, 1, 0.7, 0)
A(warning, L81_0, 53.9, 105.7, 0.7, 0.7, 10, 1, 0.7, 0)
A(warning, L81_0, 74.9, 105.7, 0.7, 0.7, 45, 1, 0.7, 0)
A(warning, L81_0, 116.9, 105.7, 0.7, 0.7, 10, 1, 0.7, 0)
A(warning, L81_0, 54.6, 106.4, 0.7, 0.7, 9, 1, 0.7, 0)
A(warning, L81_0, 77, 106.4, 0.7, 0.7, 41, 1, 0.7, 0)
A(warning, L81_0, 116.9, 106.4, 0.7, 0.7, 9, 1, 0.7, 0)
A(warning, L81_0, 54.6, 107.1, 0.7, 0.7, 10, 1, 0.7, 0)
A(warning, L81_0, 100.8, 107.1, 0.7, 0.7, 7, 1, 0.7, 0)
A(warning, L81_0, 116.2, 107.1, 0.7, 0.7, 10, 1, 0.7, 0)
A(warning, L81_0, 55.3, 107.8, 0.7, 0.7, 10, 2, 0.7, 0.7)
A(warning, L81_0, 100.8, 107.8, 0.7, 0.7, 6, 1, 0.7, 0)
A(warning, L81_0, 116.2, 107.8, 0.7, 0.7, 9, 1, 0.7, 0)
A(warning, L81_0, 73.5, 108.5, 0.7, 0.7, 4, 1, 0.7, 0)
A(warning, L81_0, 100.1, 108.5, 0.7, 0.7, 6, 1, 0.7, 0)
A(warning, L81_0, 115.5, 108.5, 0.7, 0.7, 10, 1, 0.7, 0)
A(warning, L81_0, 56, 109.2, 0.7, 0.7, 10, 1, 0.7, 0)
A(warning, L81_0, 74.2, 109.2, 0.7, 0.7, 6, 1, 0.7, 0)
A(warning, L81_0, 99.4, 109.2, 0.7, 0.7, 7, 1, 0.7, 0)
A(warning, L81_0, 114.8, 109.2, 0.7, 0.7, 10, 2, 0.7, 0.7)
A(warning, L81_0, 56.7, 109.9, 0.7, 0.7, 9, 1, 0.7, 0)
A(warning, L81_0, 74.9, 109.9, 0.7, 0.7, 6, 1, 0.7, 0)
A(warning, L81_0, 99.4, 109.9, 0.7, 0.7, 6, 1, 0.7, 0)
A(warning, L81_0, 56.7, 110.6, 0.7, 0.7, 10, 1, 0.7, 0)
A(warning, L81_0, 74.9, 110.6, 0.7, 0.7, 7, 1, 0.7, 0)
A(warning, L81_0, 98.7, 110.6, 0.7, 0.7, 7, 1, 0.7, 0)
A(warning, L81_0, 114.1, 110.6, 0.7, 0.7, 10, 1, 0.7, 0)
A(warning, L81_0, 57.4, 111.3, 0.7, 0.7, 10, 2, 0.7, 0.7)
A(warning, L81_0, 75.6, 111.3, 0.7, 0.7, 6, 1, 0.7, 0)
A(warning, L81_0, 98.7, 111.3, 0.7, 0.7, 6, 1, 0.7, 0)
A(warning, L81_0, 114.1, 111.3, 0.7, 0.7, 9, 1, 0.7, 0)
A(warning, L81_0, 75.6, 112, 0.7, 0.7, 7, 1, 0.7, 0)
A(warning, L81_0, 98, 112, 0.7, 0.7, 6, 1, 0.7, 0)
A(warning, L81_0, 113.4, 112, 0.7, 0.7, 10, 1, 0.7, 0)
A(warning, L81_0, 58.1, 112.7, 0.7, 0.7, 10, 1, 0.7, 0)
A(warning, L81_0, 76.3, 112.7, 0.7, 0.7, 6, 1, 0.7, 0)
A(warning, L81_0, 97.3, 112.7, 0.7, 0.7, 7, 1, 0.7, 0)
A(warning, L81_0, 113.4, 112.7, 0.7, 0.7, 9, 1, 0.7, 0)
A(warning, L81_0, 58.8, 113.4, 0.7, 0.7, 9, 1, 0.7, 0)
A(warning, L81_0, 76.3, 113.4, 0.7, 0.7, 7, 1, 0.7, 0)
A(warning, L81_0, 97.3, 113.4, 0.7, 0.7, 6, 1, 0.7, 0)
A(warning, L81_0, 112.7, 113.4, 0.7, 0.7, 10, 1, 0.7, 0)
A(warning, L81_0, 58.8, 114.1, 0.7, 0.7, 10, 1, 0.7, 0)
A(warning, L81_0, 77, 114.1, 0.7, 0.7, 6, 1, 0.7, 0)
A(warning, L81_0, 96.6, 114.1, 0.7, 0.7, 7, 1, 0.7, 0)
A(warning, L81_0, 112, 114.1, 0.7, 0.7, 10, 1, 0.7, 0)
A(warning, L81_0, 59.5, 114.8, 0.7, 0.7, 9, 1, 0.7, 0)
A(warning, L81_0, 77.7, 114.8, 0.7, 0.7, 6, 1, 0.7, 0)
A(warning, L81_0, 96.6, 114.8, 0.7, 0.7, 6, 1, 0.7, 0)
A(warning, L81_0, 112, 114.8, 0.7, 0.7, 9, 1, 0.7, 0)
A(warning, L81_0, 59.5, 115.5, 0.7, 0.7, 10, 1, 0.7, 0)
A(warning, L81_0, 77.7, 115.5, 0.7, 0.7, 7, 1, 0.7, 0)
A(warning, L81_0, 95.9, 115.5, 0.7, 0.7, 7, 1, 0.7, 0)
A(warning, L81_0, 111.3, 115.5, 0.7, 0.7, 10, 1, 0.7, 0)
A(warning, L81_0, 60.2, 116.2, 0.7, 0.7, 10, 2, 0.7, 0.7)
A(warning, L81_0, 78.4, 116.2, 0.7, 0.7, 6, 1, 0.7, 0)
A(warning, L81_0, 95.9, 116.2, 0.7, 0.7, 6, 1, 0.7, 0)
A(warning, L81_0, 78.4, 116.9, 0.7, 0.7, 7, 1, 0.7, 0)
A(warning, L81_0, 95.2, 116.9, 0.7, 0.7, 6, 1, 0.7, 0)
A(warning, L81_0, 110.6, 116.9, 0.7, 0.7, 10, 1, 0.7, 0)
A(warning, L81_0, 60.9, 117.6, 0.7, 0.7, 10, 1, 0.7, 0)
A(warning, L81_0, 79.1, 117.6, 0.7, 0.7, 6, 1, 0.7, 0)
A(warning, L81_0, 94.5, 117.6, 0.7, 0.7, 7, 1, 0.7, 0)
A(warning, L81_0, 109.9, 117.6, 0.7, 0.7, 10, 2, 0.7, 0.7)
A(warning, L81_0, 61.6, 118.3, 0.7, 0.7, 9, 1, 0.7, 0)
A(warning, L81_0, 79.1, 118.3, 0.7, 0.7, 7, 1, 0.7, 0)
A(warning, L81_0, 94.5, 118.3, 0.7, 0.7, 6, 1, 0.7, 0)
A(warning, L81_0, 61.6, 119, 0.7, 0.7, 10, 1, 0.7, 0)
A(warning, L81_0, 79.8, 119, 0.7, 0.7, 6, 1, 0.7, 0)
A(warning, L81_0, 93.8, 119, 0.7, 0.7, 7, 1, 0.7, 0)
A(warning, L81_0, 109.2, 119, 0.7, 0.7, 10, 1, 0.7, 0)
A(warning, L81_0, 62.3, 119.7, 0.7, 0.7, 9, 1, 0.7, 0)
A(warning, L81_0, 79.8, 119.7, 0.7, 0.7, 7, 1, 0.7, 0)
A(warning, L81_0, 93.8, 119.7, 0.7, 0.7, 6, 1, 0.7, 0)
A(warning, L81_0, 109.2, 119.7, 0.7, 0.7, 9, 1, 0.7, 0)
A(warning, L81_0, 62.3, 120.4, 0.7, 0.7, 10, 1, 0.7, 0)
A(warning, L81_0, 80.5, 120.4, 0.7, 0.7, 6, 1, 0.7, 0)
A(warning, L81_0, 93.1, 120.4, 0.7, 0.7, 7, 1, 0.7, 0)
A(warning, L81_0, 108.5, 120.4, 0.7, 0.7, 10, 1, 0.7, 0)
A(warning, L81_0, 63, 121.1, 0.7, 0.7, 10, 2, 0.7, 0.7)
A(warning, L81_0, 81.2, 121.1, 0.7, 0.7, 6, 1, 0.7, 0)
A(warning, L81_0, 93.1, 121.1, 0.7, 0.7, 6, 1, 0.7, 0)
A(warning, L81_0, 108.5, 121.1, 0.7, 0.7, 9, 1, 0.7, 0)
A(warning, L81_0, 81.2, 121.8, 0.7, 0.7, 7, 1, 0.7, 0)
A(warning, L81_0, 92.4, 121.8, 0.7, 0.7, 6, 1, 0.7, 0)
A(warning, L81_0, 107.8, 121.8, 0.7, 0.7, 10, 1, 0.7, 0)
A(warning, L81_0, 63.7, 122.5, 0.7, 0.7, 10, 1, 0.7, 0)
A(warning, L81_0, 81.9, 122.5, 0.7, 0.7, 6, 1, 0.7, 0)
A(warning, L81_0, 91.7, 122.5, 0.7, 0.7, 7, 1, 0.7, 0)
A(warning, L81_0, 107.1, 122.5, 0.7, 0.7, 10, 2, 0.7, 0.7)
A(warning, L81_0, 64.4, 123.2, 0.7, 0.7, 9, 1, 0.7, 0)
A(warning, L81_0, 81.9, 123.2, 0.7, 0.7, 7, 1, 0.7, 0)
A(warning, L81_0, 91.7, 123.2, 0.7, 0.7, 6, 1, 0.7, 0)
A(warning, L81_0, 64.4, 123.9, 0.7, 0.7, 10, 1, 0.7, 0)
A(warning, L81_0, 82.6, 123.9, 0.7, 0.7, 6, 1, 0.7, 0)
A(warning, L81_0, 91, 123.9, 0.7, 0.7, 7, 1, 0.7, 0)
A(warning, L81_0, 106.4, 123.9, 0.7, 0.7, 10, 1, 0.7, 0)
A(warning, L81_0, 65.1, 124.6, 0.7, 0.7, 9, 1, 0.7, 0)
A(warning, L81_0, 82.6, 124.6, 0.7, 0.7, 7, 1, 0.7, 0)
A(warning, L81_0, 91, 124.6, 0.7, 0.7, 6, 1, 0.7, 0)
A(warning, L81_0, 106.4, 124.6, 0.7, 0.7, 9, 1, 0.7, 0)
A(warning, L81_0, 65.1, 125.3, 0.7, 0.7, 10, 1, 0.7, 0)
A(warning, L81_0, 83.3, 125.3, 0.7, 0.7, 6, 1, 0.7, 0)
A(warning, L81_0, 90.3, 125.3, 0.7, 0.7, 7, 1, 0.7, 0)
A(warning, L81_0, 105.7, 125.3, 0.7, 0.7, 10, 1, 0.7, 0)
A(warning, L81_0, 65.8, 126, 0.7, 0.7, 10, 1, 0.7, 0)
A(warning, L81_0, 84, 126, 0.7, 0.7, 6, 1, 0.7, 0)
A(warning, L81_0, 89.6, 126, 0.7, 0.7, 7, 1, 0.7, 0)
A(warning, L81_0, 105.7, 126, 0.7, 0.7, 9, 1, 0.7, 0)
A(warning, L81_0, 66.5, 126.7, 0.7, 0.7, 9, 1, 0.7, 0)
A(warning, L81_0, 84, 126.7, 0.7, 0.7, 7, 1, 0.7, 0)
A(warning, L81_0, 89.6, 126.7, 0.7, 0.7, 6, 1, 0.7, 0)
A(warning, L81_0, 105, 126.7, 0.7, 0.7, 10, 1, 0.7, 0)
A(warning, L81_0, 66.5, 127.4, 0.7, 0.7, 10, 1, 0.7, 0)
A(warning, L81_0, 84.7, 127.4, 0.7, 0.7, 13, 1, 0.7, 0)
A(warning, L81_0, 104.3, 127.4, 0.7, 0.7, 10, 2, 0.7, 0.7)
A(warning, L81_0, 67.2, 128.1, 0.7, 0.7, 9, 1, 0.7, 0)
A(warning, L81_0, 67.2, 128.8, 0.7, 0.7, 10, 1, 0.7, 0)
A(warning, L81_0, 103.6, 128.8, 0.7, 0.7, 10, 1, 0.7, 0)
A(warning, L81_0, 67.9, 129.5, 0.7, 0.7, 10, 2, 0.7, 0.7)
A(warning, L81_0, 103.6, 129.5, 0.7, 0.7, 9, 1, 0.7, 0)
A(warning, L81_0, 102.9, 130.2, 0.7, 0.7, 10, 1, 0.7, 0)
A(warning, L81_0, 68.6, 130.9, 0.7, 0.7, 10, 1, 0.7, 0)
A(warning, L81_0, 86.1, 130.9, 0.7, 0.7, 8, 2, 0.7, 30.8)
A(warning, L81_0, 102.9, 130.9, 0.7, 0.7, 9, 1, 0.7, 0)
A(warning, L81_0, 69.3, 131.6, 0.7, 0.7, 9, 1, 0.7, 0)
A(warning, L81_0, 86.8, 131.6, 0.7, 0.7, 6, 2, 0.7, 30.8)
A(warning, L81_0, 102.2, 131.6, 0.7, 0.7, 10, 1, 0.7, 0)
A(warning, L81_0, 69.3, 132.3, 0.7, 0.7, 10, 1, 0.7, 0)
A(warning, L81_0, 87.5, 132.3, 0.7, 0.7, 5, 2, 0.7, 30.8)
A(warning, L81_0, 101.5, 132.3, 0.7, 0.7, 10, 2, 0.7, 0.7)
A(warning, L81_0, 70, 133, 0.7, 0.7, 9, 1, 0.7, 0)
A(warning, L81_0, 70, 133.7, 0.7, 0.7, 10, 1, 0.7, 0)
A(warning, L81_0, 100.8, 133.7, 0.7, 0.7, 10, 1, 0.7, 0)
A(warning, L81_0, 70.7, 134.4, 0.7, 0.7, 10, 2, 0.7, 0.7)
A(warning, L81_0, 100.8, 134.4, 0.7, 0.7, 9, 1, 0.7, 0)
A(warning, L81_0, 100.1, 135.1, 0.7, 0.7, 10, 1, 0.7, 0)
A(warning, L81_0, 71.4, 135.8, 0.7, 0.7, 10, 1, 0.7, 0)
A(warning, L81_0, 100.1, 135.8, 0.7, 0.7, 9, 1, 0.7, 0)
A(warning, L81_0, 72.1, 136.5, 0.7, 0.7, 9, 1, 0.7, 0)
A(warning, L81_0, 99.4, 136.5, 0.7, 0.7, 10, 1, 0.7, 0)
A(warning, L81_0, 72.1, 137.2, 0.7, 0.7, 10, 1, 0.7, 0)
A(warning, L81_0, 98.7, 137.2, 0.7, 0.7, 10, 2, 0.7, 0.7)
A(warning, L81_0, 72.8, 137.9, 0.7, 0.7, 9, 1, 0.7, 0)
A(warning, L81_0, 72.8, 138.6, 0.7, 0.7, 10, 1, 0.7, 0)
A(warning, L81_0, 98, 138.6, 0.7, 0.7, 10, 1, 0.7, 0)
A(warning, L81_0, 73.5, 139.3, 0.7, 0.7, 10, 2, 0.7, 0.7)
A(warning, L81_0, 98, 139.3, 0.7, 0.7, 9, 1, 0.7, 0)
A(warning, L81_0, 97.3, 140, 0.7, 0.7, 10, 1, 0.7, 0)
A(warning, L81_0, 74.2, 140.7, 0.7, 0.7, 10, 1, 0.7, 0)
A(warning, L81_0, 97.3, 140.7, 0.7, 0.7, 9, 1, 0.7, 0)
A(warning, L81_0, 74.9, 141.4, 0.7, 0.7, 9, 1, 0.7, 0)
A(warning, L81_0, 96.6, 141.4, 0.7, 0.7, 10, 1, 0.7, 0)
A(warning, L81_0, 74.9, 142.1, 0.7, 0.7, 10, 1, 0.7, 0)
A(warning, L81_0, 95.9, 142.1, 0.7, 0.7, 10, 1, 0.7, 0)
A(warning, L81_0, 75.6, 142.8, 0.7, 0.7, 10, 2, 0.7, 0.7)
A(warning, L81_0, 95.9, 142.8, 0.7, 0.7, 9, 1, 0.7, 0)
A(warning, L81_0, 95.2, 143.5, 0.7, 0.7, 10, 1, 0.7, 0)
A(warning, L81_0, 76.3, 144.2, 0.7, 0.7, 10, 1, 0.7, 0)
A(warning, L81_0, 95.2, 144.2, 0.7, 0.7, 9, 1, 0.7, 0)
A(warning, L81_0, 77, 144.9, 0.7, 0.7, 9, 1, 0.7, 0)
A(warning, L81_0, 94.5, 144.9, 0.7, 0.7, 10, 1, 0.7, 0)
A(warning, L81_0, 77, 145.6, 0.7, 0.7, 10, 1, 0.7, 0)
A(warning, L81_0, 93.8, 145.6, 0.7, 0.7, 10, 2, 0.7, 0.7)
A(warning, L81_0, 77.7, 146.3, 0.7, 0.7, 9, 1, 0.7, 0)
A(warning, L81_0, 77.7, 147, 0.7, 0.7, 10, 1, 0.7, 0)
A(warning, L81_0, 93.1, 147, 0.7, 0.7, 10, 1, 0.7, 0)
A(warning, L81_0, 78.4, 147.7, 0.7, 0.7, 10, 2, 0.7, 0.7)
A(warning, L81_0, 93.1, 147.7, 0.7, 0.7, 9, 1, 0.7, 0)
A(warning, L81_0, 92.4, 148.4, 0.7, 0.7, 10, 1, 0.7, 0)
A(warning, L81_0, 79.1, 149.1, 0.7, 0.7, 10, 1, 0.7, 0)
A(warning, L81_0, 92.4, 149.1, 0.7, 0.7, 9, 1, 0.7, 0)
A(warning, L81_0, 79.8, 149.8, 0.7, 0.7, 9, 1, 0.7, 0)
A(warning, L81_0, 91.7, 149.8, 0.7, 0.7, 10, 1, 0.7, 0)
A(warning, L81_0, 79.8, 150.5, 0.7, 0.7, 10, 1, 0.7, 0)
A(warning, L81_0, 91, 150.5, 0.7, 0.7, 10, 2, 0.7, 0.7)
A(warning, L81_0, 80.5, 151.2, 0.7, 0.7, 9, 1, 0.7, 0)
A(warning, L81_0, 80.5, 151.9, 0.7, 0.7, 10, 1, 0.7, 0)
A(warning, L81_0, 90.3, 151.9, 0.7, 0.7, 10, 1, 0.7, 0)
A(warning, L81_0, 81.2, 152.6, 0.7, 0.7, 10, 2, 0.7, 0.7)
A(warning, L81_0, 90.3, 152.6, 0.7, 0.7, 9, 1, 0.7, 0)
A(warning, L81_0, 89.6, 153.3, 0.7, 0.7, 10, 1, 0.7, 0)
A(warning, L81_0, 81.9, 154, 0.7, 0.7, 10, 1, 0.7, 0)
A(warning, L81_0, 89.6, 154, 0.7, 0.7, 9, 1, 0.7, 0)
A(warning, L81_0, 82.6, 154.7, 0.7, 0.7, 19, 1, 0.7, 0)
A(warning, L81_0, 82.6, 155.4, 0.7, 0.7, 18, 1, 0.7, 0)
A(warning, L81_0, 83.3, 156.8, 0.7, 0.7, 16, 1, 0.7, 0)
A(warning, L81_0, 84, 158.2, 0.7, 0.7, 14, 1, 0.7, 0)
A(warning, L81_0, 84.7, 158.9, 0.7, 0.7, 12, 1, 0.7, 0)
A(warning, L81_0, 85.4, 159.6, 0.7, 0.7, 11, 1, 0.7, 0)
A(warning, L81_0, 85.4, 160.3, 0.7, 0.7, 10, 1, 0.7, 0)
A(warning, L81_0, 86.1, 161, 0.7, 0.7, 9, 1, 0.7, 0)
A(warning, L81_0, 87.5, 163.8, 0.7, 0.7, 4, 1, 0.7, 0)
A(warning, L81_0, 88.2, 164.5, 0.7, 0.7, 3, 1, 0.7, 0)
R(warning, L81_0, [(131.6,60.9,132.3,61.6), (122.5,69.3,123.2,70), (122.5,70,123.2,70.7), (69.3,95.9,70,96.6), (70,95.9,70.7,96.6), (70,96.6,70.7,97.3), (70.7,96.6,71.4,97.3), (73.5,107.8,74.2,108.5), (88.2,134.4,88.9,135.1), (88.9,134.4,89.6,135.1), (88.2,165.2,88.9,165.9), (88.9,165.2,89.6,165.9)])
R(warning, L152_5, [(0,0,179.2,179.2)])

lib.write_gds('warning.gds')
